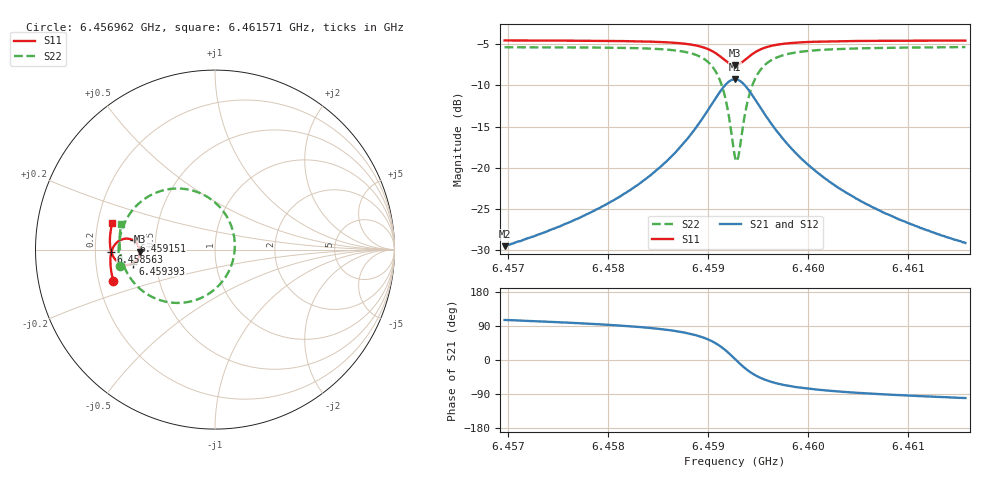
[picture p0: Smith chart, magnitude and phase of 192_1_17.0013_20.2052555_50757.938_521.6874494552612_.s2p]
#  HZ  S  RI  R  50.00
! Rohde & Schwarz Vector Network Analyzer
! Rohde-Schwarz,ZNB20-2Port,1311601062101988,3.16
! Created: UTC 3/20/2024, 11:00:41 PM
! freq[Hz]  re:S11  im:S11  re:S21  im:S21  re:S12  im:S12  re:S22  im:S22
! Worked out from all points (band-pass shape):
!   401 points, 6.456962 GHz to 6.461571 GHz, reference 50 ohm
!   highest |S21| = -9.25 dB at 6.459266 GHz (marker M1); lowest = -29.5 dB at 6.456962 GHz (marker M2)
!   |S21| within 3 dB of the highest: 6.459035 GHz to 6.459497 GHz (461.4 kHz wide, 0.00714 % of centre)
!   lowest |S11| = -7.6 dB at 6.459266 GHz (marker M3), VSWR 2.44, Z = 20.5 - j0.599 ohm
!   |S11| at or under -10 dB: nowhere
!   |S22| runs from -19.2 to -5.4 dB; largest |S21 - S12| = 0.013
!   S11 on the Smith chart (normalised r, x): 6.456962 GHz: 0.26, -0.14; 6.458563 GHz: 0.27, -0.01; 6.459151 GHz: 0.37, +0.05; 6.459393 GHz: 0.37, -0.07; 6.461571 GHz: 0.26, +0.12
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6.4569617e9  -0.5659 -0.1747  -0.00902 0.0323  -0.00735 0.0324  -0.5311 -0.0886
6.4577338e9  -0.5802 -0.1072  -0.00583 0.0503  -0.00336 0.0498  -0.5371 0.00156
6.4581947e9  -0.5833 -0.0607  0.000789 0.072  0.0041 0.0705  -0.528 0.0755
6.4585058e9  -0.5795 -0.0232  0.0137 0.0986  0.0176 0.096  -0.5045 0.1469
6.4585634e9  -0.5778 -0.0152  0.0181 0.1056  0.0221 0.1025  -0.4964 0.1634
6.4587708e9  -0.5648 0.0169  0.0455 0.1381  0.0496 0.1332  -0.4454 0.2363
6.4589206e9  -0.5422 0.0433  0.0906 0.1688  0.0938 0.162  -0.3623 0.3011
6.4590589e9  -0.4984 0.061  0.1777 0.1856  0.1786 0.1782  -0.2035 0.3403
6.459151e9  -0.4539 0.0509  0.2674 0.1545  0.2677 0.1487  -0.0373 0.2906
6.4592202e9  -0.4249 0.0188  0.3279 0.083  0.33 0.0776  0.078 0.1617
6.4592663e9  -0.418 -0.012  0.3443 0.0153  0.3479 0.00839  0.1104 0.0356
6.4592778e9  -0.4185 -0.0201  0.3441 -0.00235  0.348 -0.00999  0.1099 0.00213
6.4593008e9  -0.4219 -0.0357  0.3387 -0.037  0.3425 -0.046  0.0991 -0.0634
6.4593469e9  -0.4376 -0.0616  0.3104 -0.0969  0.3126 -0.1085  0.0421 -0.1759
6.459393e9  -0.4594 -0.078  0.2687 -0.1377  0.268 -0.1509  -0.0422 -0.2507
6.4594852e9  -0.5027 -0.0849  0.1844 -0.1691  0.1783 -0.1806  -0.2098 -0.2972
6.459635e9  -0.5466 -0.0646  0.0968 -0.1557  0.0884 -0.162  -0.3767 -0.2491
6.4597963e9  -0.5681 -0.037  0.0519 -0.1281  0.0445 -0.131  -0.4571 -0.1775
6.4600383e9  -0.5809 -0.00146  0.0226 -0.0969  0.017 -0.0974  -0.5056 -0.0958
6.4603724e9  -0.5856 0.0382  0.00691 -0.0708  0.00287 -0.0704  -0.527 -0.0191
6.4608103e9  -0.5838 0.0823  -0.00133 -0.0518  -0.004 -0.051  -0.532 0.0511
6.4615708e9  -0.5719 0.1497  -0.00631 -0.0345  -0.00793 -0.0336  -0.5212 0.141
